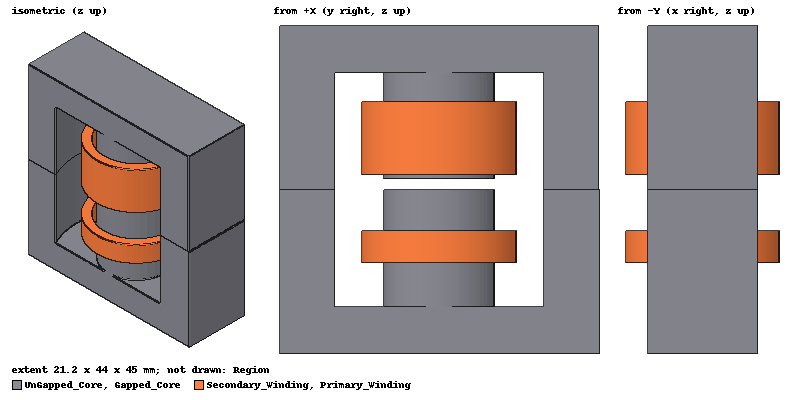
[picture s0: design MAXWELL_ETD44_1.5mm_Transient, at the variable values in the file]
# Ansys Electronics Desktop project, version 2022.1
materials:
  Ferrite_N87_ETD45_Coreloss: permittivity=12 permeability=1650 conductivity=0.01 core_loss_type="B-P Curve" mass_density=4600 core_loss_equiv_cut_depth=0.001meter core_loss_curves{PUnit=kw/m^3 BUnit=mTesla Frequency=100kHz Thickness=0.5mm BPCoordinates{DimUnits("", "") Points(0, 0, 30, 2, 40, 4, 50, 8, 60, 15, 70, 20, 80, 30, 90, 40, 100, 50, 200, 300)}}
  copper: permeability=0.999991 conductivity=58000000
  vacuum: permittivity=1

design MAXWELL_ETD44_1.5mm_Transient (Maxwell 3D, Transient, model units mm)
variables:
  gap = 0mm
  air_gap = 1.5mm
  coil_current = 276A
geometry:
  Core_A = box(corner=(0mm, 0mm, 0mm), size=(15.2mm, 44mm, 22.5mm))
  Cylinder1 = cylinder(axis=Z, base_centre=(7.6mm, 21.9mm, 6.4mm), radius=16.25mm, height=16.1mm)
  Core_A.subtract(Cylinder1)
  UnGapped_Core [Ferrite_N87_ETD45_Coreloss] = cylinder(axis=Z, base_centre=(7.6mm, 21.9mm, 0mm), radius=7.6mm, height=22.5mm)
  UnGapped_Core.unite(Core_A)
  Gapped_Core [Ferrite_N87_ETD45_Coreloss] = box(corner=(0mm, 0mm, 45mm), size=(15.2mm, 43.8mm, -22.5mm))
  Cylinder2 = cylinder(axis=Z, base_centre=(7.6mm, 21.9mm, 22.5mm), radius=16.25mm, height=16.1mm)
  Gapped_Core.subtract(Cylinder2)
  Cylinder3 = cylinder(axis=Z, base_centre=(7.6mm, 21.9mm, 45mm), radius=7.6mm, height=-22.5mm + air_gap)
  Gapped_Core.unite(Cylinder3)
  Region [vacuum] = region(percentage_offset=100 on all sides)
  B_Area [non-model] = circle(normal=Z, centre=(7.6mm, 21.9mm, 22.5mm), radius=40mm)
  point Point1 = (7.6mm, 21.9mm, 22.5mm)
  Polyline1 [non-model] = polyline((8mm, 0mm, 22.5mm) (8mm, 44mm, 22.5mm))
  Polyline2 [non-model] = polyline((7mm, 14mm, 22.5mm) (7mm, 30mm, 22.5mm))
  Cylinder4 = cylinder(axis=Z, base_centre=(7.6mm, 21.9mm, 12.5mm), radius=8.6mm, height=10mm)
  Primary_Winding [copper] = cylinder(axis=Z, base_centre=(7.6mm, 21.9mm, 12.5mm), radius=10.6mm, height=4.375mm)
  Primary_Winding.subtract(Cylinder4)
  Cylinder6 = cylinder(axis=Z, base_centre=(7.6mm, 21.9mm, 24.5mm), radius=8.6mm, height=10.125mm)
  Secondary_Winding [copper] = cylinder(axis=Z, base_centre=(7.6mm, 21.9mm, 24.5mm), radius=10.6mm, height=10.125mm)
  Secondary_Winding.subtract(Cylinder6)
  coordinate_system RelativeCS1 = origin=(7.6mm, 0mm, 0mm) x=(1mm, 0mm, 0mm) y=(0mm, 1mm, 0mm)
  Primary_Winding_Section1 [copper] = Primary_Winding.section(plane=YZ) in RelativeCS1
  Primary_Winding_Section1.separate_bodies()
  Secondary_Winding_Tem1 [copper] = Secondary_Winding.section(plane=YZ) in RelativeCS1
  Secondary_Winding_Tem1.separate_bodies()
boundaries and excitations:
  Pri_Term1: Coil Terminal Objects=Primary_Winding_Section1 Conductor_number=69 Winding=Pri Point_out_of_terminal=false
  Sec_Term1: Coil Terminal Objects=Secondary_Winding_Tem1 Conductor_number=27 Winding=Sec Point_out_of_terminal=true
  Pri: Winding Group Type=Current IsSolid=false Current="10*cos(2*pi*100000*time + 10)" ParallelBranchesNum=3
  Sec: Winding Group Type=Current IsSolid=false Current="10*sin(2*pi*100000*time + 1)" ParallelBranchesNum=12
  core loss on: UnGapped_Core, Gapped_Core
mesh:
  Length1: LengthBased RefineInside Objects=[Gapped_Core, UnGapped_Core] NumMaxElem=20000
  Length2: LengthBased RefineInside Objects=[Primary_Winding, Secondary_Winding] NumMaxElem=10000
  initial mesh: GlobalCurvilinear{Apply}
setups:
  Setup1: Transient NonlinearSolverResidual=1e-06 ScalarPotential="Second Order" StopTime=500us TimeStep=1us SaveFieldsType="Every N Steps" N_Steps=1 Steps_From=0s Steps_To=500us NumberSolveSteps=1 RangeStart=0s RangeEnd=0.1s
